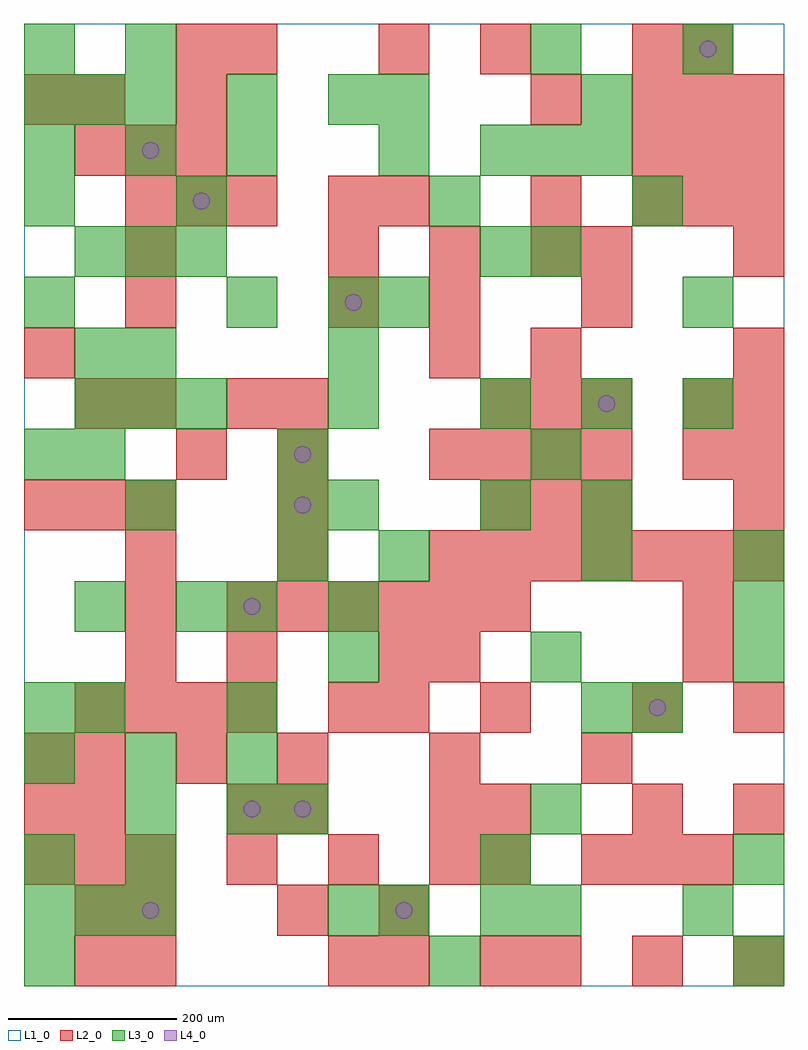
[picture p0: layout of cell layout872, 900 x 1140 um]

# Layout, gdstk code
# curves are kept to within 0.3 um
import gdstk
lib = gdstk.Library(unit=1e-6, precision=1e-09)
def R(c, l, rs):  # rectangles x0, y0, x1, y1
    for r in rs: c.add(gdstk.rectangle(r[:2], r[2:], *l))
def A(c, l, x, y, w, h, nx, ny, dx, dy):  # array of equal rectangles
    R(c, l, [(x+i*dx, y+j*dy, x+i*dx+w, y+j*dy+h) for i in range(nx) for j in range(ny)])
def P(c, l, *ps):  # polygons
    for p in ps: c.add(gdstk.Polygon(p, *l))
L1_0 = (1, 0)
L2_0 = (2, 0)
L3_0 = (3, 0)
L4_0 = (4, 0)

layout872 = lib.new_cell('layout872')
R(layout872, L1_0, [(0,0,900,1140)])
A(layout872, L2_0, 600, 0, 60, 60, 3, 1, 120, 0)
A(layout872, L2_0, 0, 120, 60, 60, 3, 2, 60, 420)
A(layout872, L2_0, 240, 120, 60, 60, 3, 1, 120, 0)
A(layout872, L2_0, 660, 120, 60, 60, 3, 1, 60, 0)
A(layout872, L2_0, 60, 240, 60, 60, 3, 1, 120, 0)
A(layout872, L2_0, 60, 300, 60, 60, 4, 1, 60, 0)
A(layout872, L2_0, 240, 420, 60, 60, 6, 1, 60, 0)
A(layout872, L2_0, 120, 480, 60, 60, 3, 1, 180, 0)
A(layout872, L2_0, 540, 480, 60, 60, 6, 1, 60, 0)
A(layout872, L2_0, 300, 540, 60, 60, 1, 3, 0, 60)
A(layout872, L2_0, 540, 540, 60, 60, 3, 2, 60, 120)
A(layout872, L2_0, 840, 540, 60, 60, 1, 4, 0, 60)
A(layout872, L2_0, 480, 600, 60, 60, 4, 1, 60, 0)
A(layout872, L2_0, 360, 840, 60, 60, 3, 1, 120, 0)
A(layout872, L2_0, 120, 900, 60, 60, 3, 1, 60, 0)
A(layout872, L2_0, 720, 900, 60, 60, 3, 3, 60, 60)
A(layout872, L2_0, 60, 960, 60, 60, 3, 1, 60, 0)
R(layout872, L2_0, [(60,0,120,60), (120,0,180,60), (360,0,420,60), (420,0,480,60), (540,0,600,60), (60,60,120,120), (120,60,180,120), (300,60,360,120), (420,60,480,120), (540,120,600,180), (0,180,60,240), (60,180,120,240), (240,180,300,240), (300,180,360,240), (480,180,540,240), (540,180,600,240), (720,180,780,240), (840,180,900,240), (0,240,60,300), (480,240,540,300), (660,240,720,300), (360,300,420,360), (420,300,480,360), (540,300,600,360), (720,300,780,360), (840,300,900,360), (120,360,180,420), (240,360,300,420), (420,360,480,420), (480,360,540,420), (780,360,840,420), (120,420,180,480), (780,420,840,480), (180,600,240,660), (780,600,840,660), (60,660,120,720), (120,660,180,720), (240,660,300,720), (780,660,840,720), (0,720,60,780), (480,720,540,780), (600,720,660,780), (120,780,180,840), (360,780,420,840), (480,780,540,840), (660,780,720,840), (120,840,180,900), (660,840,720,900), (840,840,900,900), (360,900,420,960), (420,900,480,960), (600,900,660,960), (0,1020,60,1080), (60,1020,120,1080), (180,1020,240,1080), (600,1020,660,1080), (180,1080,240,1140), (240,1080,300,1140), (420,1080,480,1140), (540,1080,600,1140), (720,1080,780,1140), (780,1080,840,1140)])
A(layout872, L3_0, 0, 60, 60, 60, 3, 2, 60, 960)
A(layout872, L3_0, 240, 180, 60, 60, 1, 3, 0, 120)
A(layout872, L3_0, 0, 240, 60, 60, 3, 2, 120, 720)
A(layout872, L3_0, 360, 360, 60, 60, 3, 1, 240, 0)
A(layout872, L3_0, 360, 420, 60, 60, 1, 3, 0, 120)
A(layout872, L3_0, 300, 480, 60, 60, 1, 3, 0, 60)
A(layout872, L3_0, 600, 600, 60, 60, 1, 3, 0, 240)
A(layout872, L3_0, 60, 660, 60, 60, 3, 2, 60, 180)
A(layout872, L3_0, 540, 660, 60, 60, 3, 1, 120, 0)
A(layout872, L3_0, 540, 960, 60, 60, 3, 1, 60, 0)
R(layout872, L3_0, [(0,0,60,60), (480,0,540,60), (840,0,900,60), (360,60,420,120), (420,60,480,120), (540,60,600,120), (600,60,660,120), (780,60,840,120), (0,120,60,180), (120,120,180,180), (540,120,600,180), (840,120,900,180), (120,180,180,240), (300,180,360,240), (600,180,660,240), (0,300,60,360), (60,300,120,360), (660,300,720,360), (720,300,780,360), (60,420,120,480), (180,420,240,480), (840,420,900,480), (420,480,480,540), (660,480,720,540), (840,480,900,540), (120,540,180,600), (540,540,600,600), (660,540,720,600), (0,600,60,660), (60,600,120,660), (60,720,120,780), (120,720,180,780), (360,720,420,780), (0,780,60,840), (240,780,300,840), (360,780,420,840), (420,780,480,840), (780,780,840,840), (540,840,600,900), (0,900,60,960), (180,900,240,960), (480,900,540,960), (720,900,780,960), (420,960,480,1020), (240,1020,300,1080), (360,1020,420,1080), (420,1020,480,1080), (660,1020,720,1080), (0,1080,60,1140), (120,1080,180,1140), (780,1080,840,1140)])
P(layout872, L4_0, [(160,90),(159.239,93.827),(157.071,97.071),(153.827,99.239),(150,100),(146.173,99.239),(142.929,97.071),(140.761,93.827),(140,90),(140.761,86.173),(142.929,82.929),(146.173,80.761),(150,80),(153.827,80.761),(157.071,82.929),(159.239,86.173)],
  [(160,990),(159.239,993.827),(157.071,997.071),(153.827,999.239),(150,1000),(146.173,999.239),(142.929,997.071),(140.761,993.827),(140,990),(140.761,986.173),(142.929,982.929),(146.173,980.761),(150,980),(153.827,980.761),(157.071,982.929),(159.239,986.173)],
  [(220,930),(219.239,933.827),(217.071,937.071),(213.827,939.239),(210,940),(206.173,939.239),(202.929,937.071),(200.761,933.827),(200,930),(200.761,926.173),(202.929,922.929),(206.173,920.761),(210,920),(213.827,920.761),(217.071,922.929),(219.239,926.173)],
  [(280,210),(279.239,213.827),(277.071,217.071),(273.827,219.239),(270,220),(266.173,219.239),(262.929,217.071),(260.761,213.827),(260,210),(260.761,206.173),(262.929,202.929),(266.173,200.761),(270,200),(273.827,200.761),(277.071,202.929),(279.239,206.173)],
  [(280,450),(279.239,453.827),(277.071,457.071),(273.827,459.239),(270,460),(266.173,459.239),(262.929,457.071),(260.761,453.827),(260,450),(260.761,446.173),(262.929,442.929),(266.173,440.761),(270,440),(273.827,440.761),(277.071,442.929),(279.239,446.173)],
  [(340,210),(339.239,213.827),(337.071,217.071),(333.827,219.239),(330,220),(326.173,219.239),(322.929,217.071),(320.761,213.827),(320,210),(320.761,206.173),(322.929,202.929),(326.173,200.761),(330,200),(333.827,200.761),(337.071,202.929),(339.239,206.173)],
  [(340,570),(339.239,573.827),(337.071,577.071),(333.827,579.239),(330,580),(326.173,579.239),(322.929,577.071),(320.761,573.827),(320,570),(320.761,566.173),(322.929,562.929),(326.173,560.761),(330,560),(333.827,560.761),(337.071,562.929),(339.239,566.173)],
  [(340,630),(339.239,633.827),(337.071,637.071),(333.827,639.239),(330,640),(326.173,639.239),(322.929,637.071),(320.761,633.827),(320,630),(320.761,626.173),(322.929,622.929),(326.173,620.761),(330,620),(333.827,620.761),(337.071,622.929),(339.239,626.173)],
  [(400,810),(399.239,813.827),(397.071,817.071),(393.827,819.239),(390,820),(386.173,819.239),(382.929,817.071),(380.761,813.827),(380,810),(380.761,806.173),(382.929,802.929),(386.173,800.761),(390,800),(393.827,800.761),(397.071,802.929),(399.239,806.173)],
  [(460,90),(459.239,93.827),(457.071,97.071),(453.827,99.239),(450,100),(446.173,99.239),(442.929,97.071),(440.761,93.827),(440,90),(440.761,86.173),(442.929,82.929),(446.173,80.761),(450,80),(453.827,80.761),(457.071,82.929),(459.239,86.173)],
  [(700,690),(699.239,693.827),(697.071,697.071),(693.827,699.239),(690,700),(686.173,699.239),(682.929,697.071),(680.761,693.827),(680,690),(680.761,686.173),(682.929,682.929),(686.173,680.761),(690,680),(693.827,680.761),(697.071,682.929),(699.239,686.173)],
  [(760,330),(759.239,333.827),(757.071,337.071),(753.827,339.239),(750,340),(746.173,339.239),(742.929,337.071),(740.761,333.827),(740,330),(740.761,326.173),(742.929,322.929),(746.173,320.761),(750,320),(753.827,320.761),(757.071,322.929),(759.239,326.173)],
  [(820,1110),(819.239,1113.827),(817.071,1117.071),(813.827,1119.239),(810,1120),(806.173,1119.239),(802.929,1117.071),(800.761,1113.827),(800,1110),(800.761,1106.173),(802.929,1102.929),(806.173,1100.761),(810,1100),(813.827,1100.761),(817.071,1102.929),(819.239,1106.173)])

lib.write_gds('layout872.gds')
